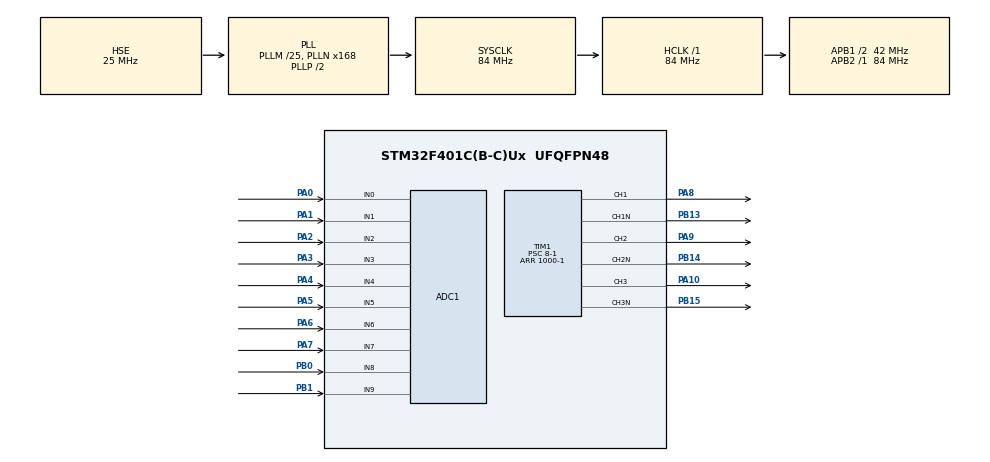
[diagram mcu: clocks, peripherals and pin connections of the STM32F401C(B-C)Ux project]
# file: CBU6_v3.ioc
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ADC1.Channel-0\#ChannelRegularConversion=ADC_CHANNEL_0
ADC1.NbrOfConversionFlag=1
ADC1.Rank-0\#ChannelRegularConversion=1
ADC1.SamplingTime-0\#ChannelRegularConversion=ADC_SAMPLETIME_3CYCLES
ADC1.master=1
Mcu.Family=STM32F4
Mcu.Name=STM32F401C(B-C)Ux
Mcu.Package=UFQFPN48
NVIC.PriorityGroup=NVIC_PRIORITYGROUP_4
PA0-WKUP.Signal=ADCx_IN0
PA1.Signal=ADCx_IN1
PA10.Signal=S_TIM1_CH3
PA2.Signal=ADCx_IN2
PA3.Signal=ADCx_IN3
PA4.Signal=ADCx_IN4
PA5.Signal=ADCx_IN5
PA6.Signal=ADCx_IN6
PA7.Signal=ADCx_IN7
PA8.Signal=S_TIM1_CH1
PA9.Signal=S_TIM1_CH2
PB0.Signal=ADCx_IN8
PB1.Signal=ADCx_IN9
PB13.Mode=PWM Generation1 CH1 CH1N
PB13.Signal=TIM1_CH1N
PB14.Mode=PWM Generation2 CH2 CH2N
PB14.Signal=TIM1_CH2N
PB15.Mode=PWM Generation3 CH3 CH3N
PB15.Signal=TIM1_CH3N
PC14-OSC32_IN.Mode=LSE-External-Oscillator
PC14-OSC32_IN.Signal=RCC_OSC32_IN
PC15-OSC32_OUT.Mode=LSE-External-Oscillator
PC15-OSC32_OUT.Signal=RCC_OSC32_OUT
PH0\ -\ OSC_IN.Mode=HSE-External-Oscillator
PH0\ -\ OSC_IN.Signal=RCC_OSC_IN
PH1\ -\ OSC_OUT.Mode=HSE-External-Oscillator
PH1\ -\ OSC_OUT.Signal=RCC_OSC_OUT
ProjectManager.HeapSize=0x200
ProjectManager.StackSize=0x400
ProjectManager.TargetToolchain=Makefile
RCC.48MHZClocksFreq_Value=42000000
RCC.AHBFreq_Value=84000000
RCC.APB1CLKDivider=RCC_HCLK_DIV2
RCC.APB1Freq_Value=42000000
RCC.APB1TimFreq_Value=84000000
RCC.APB2Freq_Value=84000000
RCC.APB2TimFreq_Value=84000000
RCC.CortexFreq_Value=84000000
RCC.HCLKFreq_Value=84000000
RCC.HSE_VALUE=25000000
RCC.HSI_VALUE=16000000
RCC.PLLM=25
RCC.PLLN=168
RCC.PLLSourceVirtual=RCC_PLLSOURCE_HSE
RCC.SYSCLKFreq_VALUE=84000000
RCC.SYSCLKSource=RCC_SYSCLKSOURCE_PLLCLK
RCC.VCOOutputFreq_Value=168000000
SH.ADCx_IN0.0=ADC1_IN0,IN0
SH.ADCx_IN1.0=ADC1_IN1,IN1
SH.ADCx_IN2.0=ADC1_IN2,IN2
SH.ADCx_IN3.0=ADC1_IN3,IN3
SH.ADCx_IN4.0=ADC1_IN4,IN4
SH.ADCx_IN5.0=ADC1_IN5,IN5
SH.ADCx_IN6.0=ADC1_IN6,IN6
SH.ADCx_IN7.0=ADC1_IN7,IN7
SH.ADCx_IN8.0=ADC1_IN8,IN8
SH.ADCx_IN9.0=ADC1_IN9,IN9
SH.S_TIM1_CH1.0=TIM1_CH1,PWM Generation1 CH1 CH1N
SH.S_TIM1_CH2.0=TIM1_CH2,PWM Generation2 CH2 CH2N
SH.S_TIM1_CH3.0=TIM1_CH3,PWM Generation3 CH3 CH3N
TIM1.Channel-PWM\ Generation1\ CH1\ CH1N=TIM_CHANNEL_1
TIM1.Channel-PWM\ Generation2\ CH2\ CH2N=TIM_CHANNEL_2
TIM1.Channel-PWM\ Generation3\ CH3\ CH3N=TIM_CHANNEL_3
TIM1.Period=1000-1
TIM1.Prescaler=8-1
VP_ADC1_Vbat_Input.Mode=IN-Vbat
VP_TIM1_VS_ClockSourceINT.Mode=Internal
board=custom

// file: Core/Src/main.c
/* USER CODE BEGIN Header */
/**
  ******************************************************************************
  * @file           : main.c
  * @brief          : Main program body
  ******************************************************************************
  * @attention
  *
  * Copyright (c) 2024 STMicroelectronics.
  * All rights reserved.
  *
  * This software is licensed under terms that can be found in the LICENSE file
  * in the root directory of this software component.
  * If no LICENSE file comes with this software, it is provided AS-IS.
  *
  ******************************************************************************
  */
/* USER CODE END Header */
#include "main.h"

ADC_HandleTypeDef hadc1;

TIM_HandleTypeDef htim1;

void SystemClock_Config(void);
static void MX_GPIO_Init(void);
static void MX_TIM1_Init(void);
static void MX_ADC1_Init(void);

int main(void)
{

  /* MCU Configuration--------------------------------------------------------*/

  /* Reset of all peripherals, Initializes the Flash interface and the Systick. */
  HAL_Init();

  /* Configure the system clock */
  SystemClock_Config();

  /* Initialize all configured peripherals */
  MX_GPIO_Init();
  MX_TIM1_Init();
  MX_ADC1_Init();

  /* Infinite loop */
  /* USER CODE BEGIN WHILE */
   int cntr_CCR2 = 1, cntr_CCR1=100, cntr_CCR3 = 300;
  HAL_TIM_PWM_Start(&htim1, TIM_CHANNEL_1);
  HAL_TIM_PWM_Start(&htim1, TIM_CHANNEL_2);
  HAL_TIM_PWM_Start(&htim1, TIM_CHANNEL_3);
  HAL_TIMEx_PWMN_Start(&htim1, TIM_CHANNEL_1);
  HAL_TIMEx_PWMN_Start(&htim1, TIM_CHANNEL_2);
  HAL_TIMEx_PWMN_Start(&htim1, TIM_CHANNEL_3);

  while (1)
  {

    /* USER CODE END WHILE */

    /* USER CODE BEGIN 3 */
    if(cntr_CCR1>1000){
      cntr_CCR1=0;
    }else{
      cntr_CCR1++;
    }
    if(cntr_CCR2>1000){
      cntr_CCR2=0;
    }else{
      cntr_CCR2++;
    }
    if(cntr_CCR3>1000){
      cntr_CCR3=0;
    }else{
      cntr_CCR3++;
    }
    TIM1->CCR1 = cntr_CCR1; //works on PA8,9,10 but
    TIM1->CCR2 = cntr_CCR2; //works on pb14.
    TIM1->CCR3 = cntr_CCR3; //doesn't do anything on PB15
    // TIM1->CCMR1 = cntr_CCR1;

    HAL_Delay(1);
  }
  /* USER CODE END 3 */
}

void SystemClock_Config(void)
{
  RCC_OscInitTypeDef RCC_OscInitStruct = {0};
  RCC_ClkInitTypeDef RCC_ClkInitStruct = {0};

  /** Configure the main internal regulator output voltage
  */
  __HAL_RCC_PWR_CLK_ENABLE();
  __HAL_PWR_VOLTAGESCALING_CONFIG(PWR_REGULATOR_VOLTAGE_SCALE2);

  /** Initializes the RCC Oscillators according to the specified parameters
  * in the RCC_OscInitTypeDef structure.
  */
  RCC_OscInitStruct.OscillatorType = RCC_OSCILLATORTYPE_HSE;
  RCC_OscInitStruct.HSEState = RCC_HSE_ON;
  RCC_OscInitStruct.PLL.PLLState = RCC_PLL_ON;
  RCC_OscInitStruct.PLL.PLLSource = RCC_PLLSOURCE_HSE;
  RCC_OscInitStruct.PLL.PLLM = 25;
  RCC_OscInitStruct.PLL.PLLN = 168;
  RCC_OscInitStruct.PLL.PLLP = RCC_PLLP_DIV2;
  RCC_OscInitStruct.PLL.PLLQ = 4;
  if (HAL_RCC_OscConfig(&RCC_OscInitStruct) != HAL_OK)
  {
    Error_Handler();
  }

  /** Initializes the CPU, AHB and APB buses clocks
  */
  RCC_ClkInitStruct.ClockType = RCC_CLOCKTYPE_HCLK|RCC_CLOCKTYPE_SYSCLK
                              |RCC_CLOCKTYPE_PCLK1|RCC_CLOCKTYPE_PCLK2;
  RCC_ClkInitStruct.SYSCLKSource = RCC_SYSCLKSOURCE_PLLCLK;
  RCC_ClkInitStruct.AHBCLKDivider = RCC_SYSCLK_DIV1;
  RCC_ClkInitStruct.APB1CLKDivider = RCC_HCLK_DIV2;
  RCC_ClkInitStruct.APB2CLKDivider = RCC_HCLK_DIV1;

  if (HAL_RCC_ClockConfig(&RCC_ClkInitStruct, FLASH_LATENCY_2) != HAL_OK)
  {
    Error_Handler();
  }
}

static void MX_ADC1_Init(void)
{

  ADC_ChannelConfTypeDef sConfig = {0};

  /** Configure the global features of the ADC (Clock, Resolution, Data Alignment and number of conversion)
  */
  hadc1.Instance = ADC1;
  hadc1.Init.ClockPrescaler = ADC_CLOCK_SYNC_PCLK_DIV4;
  hadc1.Init.Resolution = ADC_RESOLUTION_12B;
  hadc1.Init.ScanConvMode = DISABLE;
  hadc1.Init.ContinuousConvMode = DISABLE;
  hadc1.Init.DiscontinuousConvMode = DISABLE;
  hadc1.Init.ExternalTrigConvEdge = ADC_EXTERNALTRIGCONVEDGE_NONE;
  hadc1.Init.ExternalTrigConv = ADC_SOFTWARE_START;
  hadc1.Init.DataAlign = ADC_DATAALIGN_RIGHT;
  hadc1.Init.NbrOfConversion = 1;
  hadc1.Init.DMAContinuousRequests = DISABLE;
  hadc1.Init.EOCSelection = ADC_EOC_SINGLE_CONV;
  if (HAL_ADC_Init(&hadc1) != HAL_OK)
  {
    Error_Handler();
  }

  /** Configure for the selected ADC regular channel its corresponding rank in the sequencer and its sample time.
  */
  sConfig.Channel = ADC_CHANNEL_0;
  sConfig.Rank = 1;
  sConfig.SamplingTime = ADC_SAMPLETIME_3CYCLES;
  if (HAL_ADC_ConfigChannel(&hadc1, &sConfig) != HAL_OK)
  {
    Error_Handler();
  }

}

static void MX_TIM1_Init(void)
{

  TIM_ClockConfigTypeDef sClockSourceConfig = {0};
  TIM_MasterConfigTypeDef sMasterConfig = {0};
  TIM_OC_InitTypeDef sConfigOC = {0};
  TIM_BreakDeadTimeConfigTypeDef sBreakDeadTimeConfig = {0};

  htim1.Instance = TIM1;
  htim1.Init.Prescaler = 8-1;
  htim1.Init.CounterMode = TIM_COUNTERMODE_UP;
  htim1.Init.Period = 1000-1;
  htim1.Init.ClockDivision = TIM_CLOCKDIVISION_DIV1;
  htim1.Init.RepetitionCounter = 0;
  htim1.Init.AutoReloadPreload = TIM_AUTORELOAD_PRELOAD_DISABLE;
  if (HAL_TIM_Base_Init(&htim1) != HAL_OK)
  {
    Error_Handler();
  }
  sClockSourceConfig.ClockSource = TIM_CLOCKSOURCE_INTERNAL;
  if (HAL_TIM_ConfigClockSource(&htim1, &sClockSourceConfig) != HAL_OK)
  {
    Error_Handler();
  }
  if (HAL_TIM_PWM_Init(&htim1) != HAL_OK)
  {
    Error_Handler();
  }
  sMasterConfig.MasterOutputTrigger = TIM_TRGO_RESET;
  sMasterConfig.MasterSlaveMode = TIM_MASTERSLAVEMODE_DISABLE;
  if (HAL_TIMEx_MasterConfigSynchronization(&htim1, &sMasterConfig) != HAL_OK)
  {
    Error_Handler();
  }
  sConfigOC.OCMode = TIM_OCMODE_PWM1;
  sConfigOC.Pulse = 0;
  sConfigOC.OCPolarity = TIM_OCPOLARITY_HIGH;
  sConfigOC.OCNPolarity = TIM_OCNPOLARITY_HIGH;
  sConfigOC.OCFastMode = TIM_OCFAST_DISABLE;
  sConfigOC.OCIdleState = TIM_OCIDLESTATE_RESET;
  sConfigOC.OCNIdleState = TIM_OCNIDLESTATE_RESET;
  if (HAL_TIM_PWM_ConfigChannel(&htim1, &sConfigOC, TIM_CHANNEL_1) != HAL_OK)
  {
    Error_Handler();
  }
  if (HAL_TIM_PWM_ConfigChannel(&htim1, &sConfigOC, TIM_CHANNEL_2) != HAL_OK)
  {
    Error_Handler();
  }
  if (HAL_TIM_PWM_ConfigChannel(&htim1, &sConfigOC, TIM_CHANNEL_3) != HAL_OK)
  {
    Error_Handler();
  }
  sBreakDeadTimeConfig.OffStateRunMode = TIM_OSSR_DISABLE;
  sBreakDeadTimeConfig.OffStateIDLEMode = TIM_OSSI_DISABLE;
  sBreakDeadTimeConfig.LockLevel = TIM_LOCKLEVEL_OFF;
  sBreakDeadTimeConfig.DeadTime = 0;
  sBreakDeadTimeConfig.BreakState = TIM_BREAK_DISABLE;
  sBreakDeadTimeConfig.BreakPolarity = TIM_BREAKPOLARITY_HIGH;
  sBreakDeadTimeConfig.AutomaticOutput = TIM_AUTOMATICOUTPUT_DISABLE;
  if (HAL_TIMEx_ConfigBreakDeadTime(&htim1, &sBreakDeadTimeConfig) != HAL_OK)
  {
    Error_Handler();
  }
  HAL_TIM_MspPostInit(&htim1);

}

static void MX_GPIO_Init(void)
{

  /* GPIO Ports Clock Enable */
  __HAL_RCC_GPIOC_CLK_ENABLE();
  __HAL_RCC_GPIOH_CLK_ENABLE();
  __HAL_RCC_GPIOA_CLK_ENABLE();
  __HAL_RCC_GPIOB_CLK_ENABLE();

}

void Error_Handler(void)
{
  __disable_irq();
  while (1)
  {
  }
}
